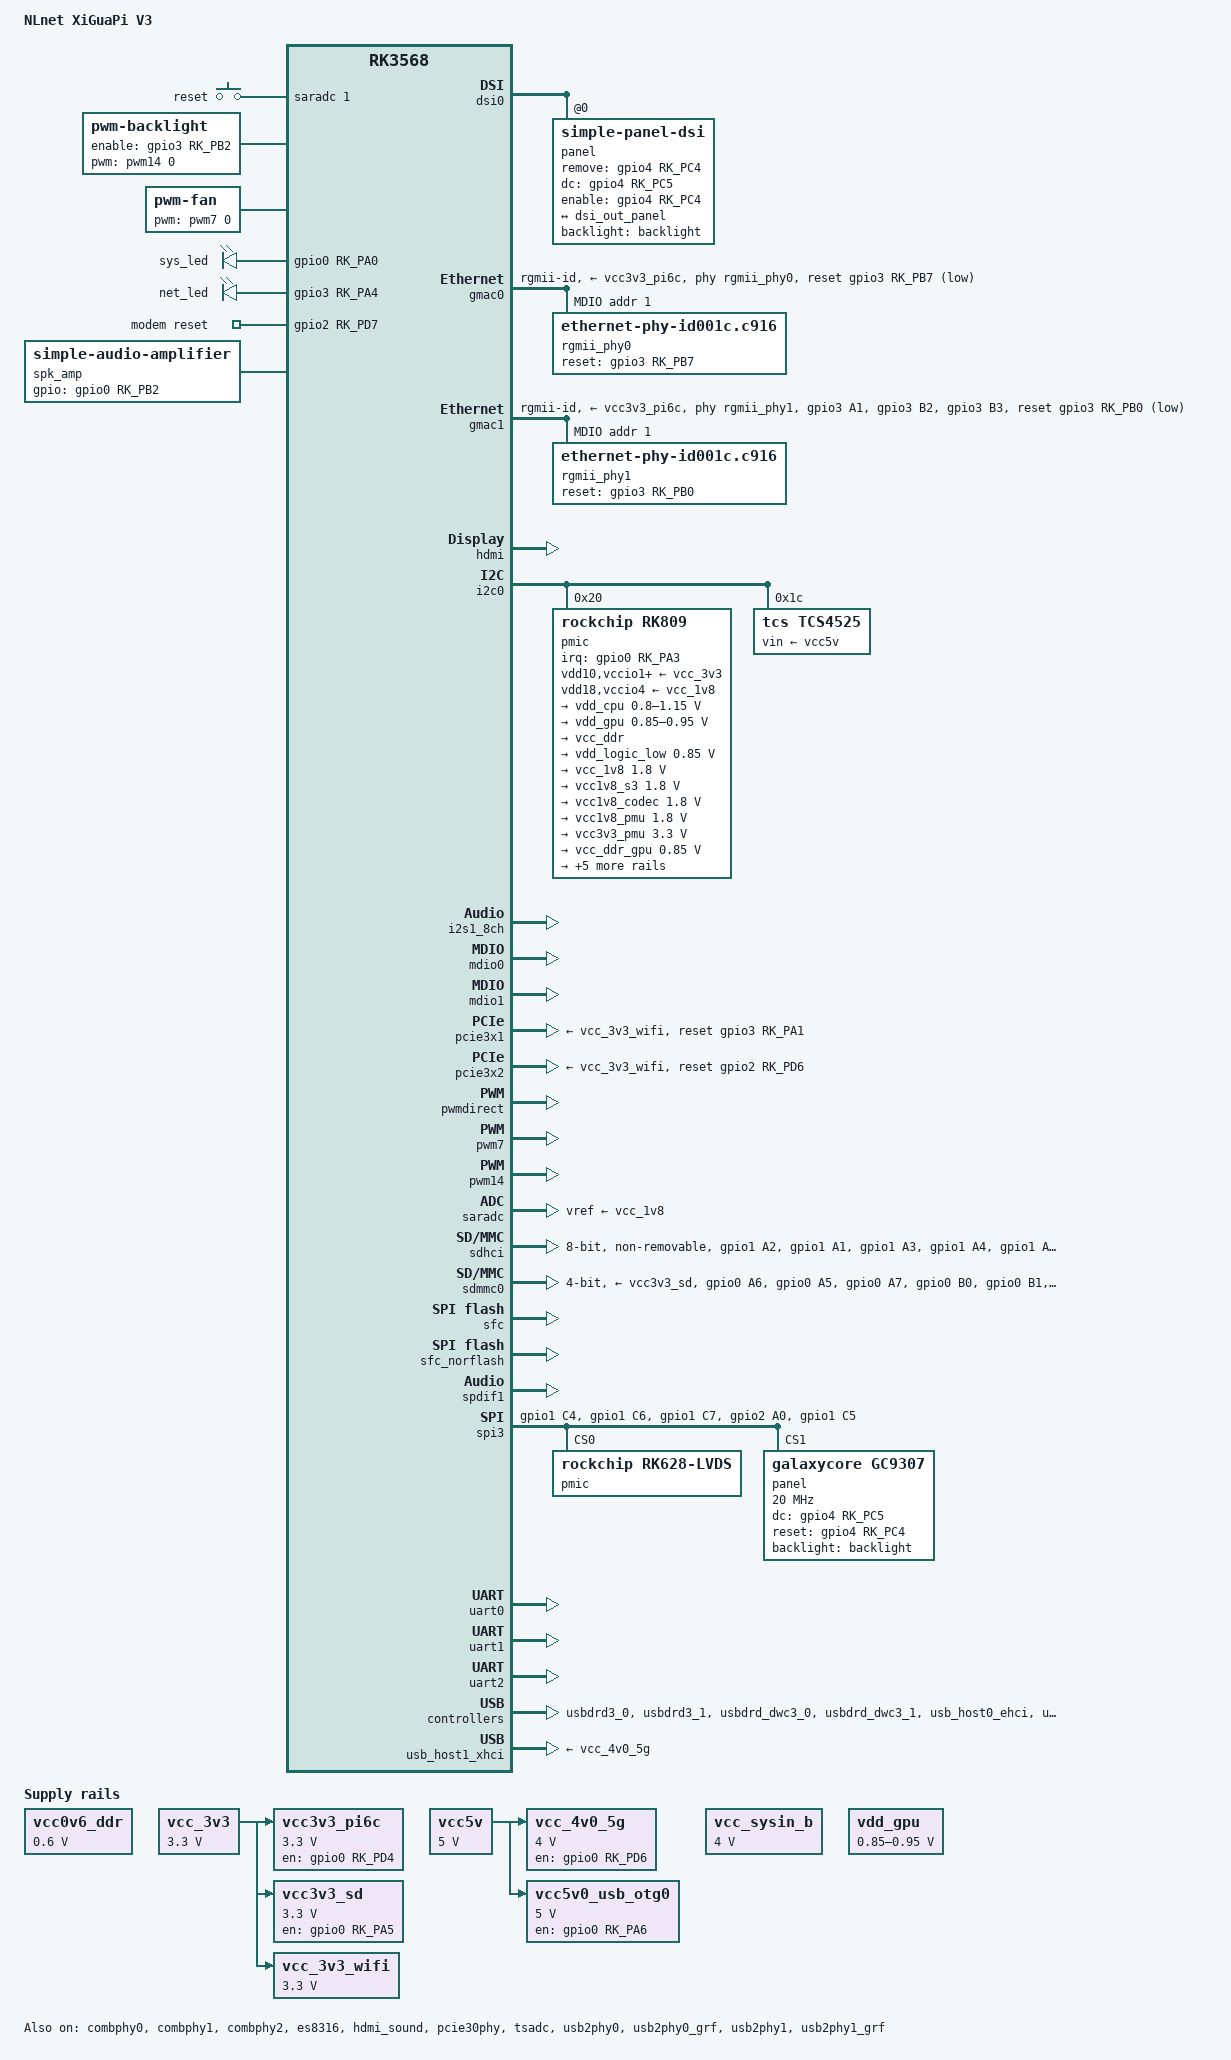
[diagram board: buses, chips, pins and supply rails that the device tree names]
// SPDX-License-Identifier: (GPL-2.0+ OR MIT)

/dts-v1/;

#include <dt-bindings/gpio/gpio.h>
#include <dt-bindings/pinctrl/rockchip.h>
#include <dt-bindings/thermal/thermal.h>

/ {
	model = "NLnet XiGuaPi V3";
	compatible = "nlnet,xiguapi-v3", "rockchip,rk3568";

	aliases {
		ethernet0 = &gmac0;
		ethernet1 = &gmac1;
		mmc0 = &sdhci;
		mmc1 = &sdmmc0;
	};

	chosen {
		bootargs = "earlycon";
		stdout-path = "serial2:1500000n8";
	};

	adc-keys {
		compatible = "adc-keys";
		io-channels = <&saradc 1>;
		key-scan-interval = <100>;
		poll-interval = <100>;

		reset-key {
			label = "reset";
			linux,code = <KEY_RESTART>;
			channel = <1>;
			threshold = <0>;
		};
	};

	backlight: backlight {
		compatible = "pwm-backlight";
		pwms = <&pwm14 0 50000>;
		enable-gpios = <&gpio3 RK_PB2 GPIO_ACTIVE_HIGH>;
		default-brightness-level = <200>;
	};

	es8316-sound {
		compatible = "simple-audio-card";
		simple-audio-card,format = "i2s";
		simple-audio-card,name = "HDMI";
		simple-audio-card,widgets = "Microphone", "Microphone Jack",
					    "Headphone", "Headphone Jack",
					    "Speaker", "Speaker Ext",
					    "Line", "Line In Jack";
		simple-audio-card,routing = "MIC1", "Microphone Jack",
					     "Headphone", "HPOL",
					     "Headphone", "HPOR",
					     "Speaker", "SPOL",
					     "Speaker", "SPOR",
					     "LL", "Line In Jack",
					     "Headphone", "HPOL",
					     "Headphone", "HPOR";
		simple-audio-card,cpu {
			sound-dai = <&i2s1_8ch>;
		};
		simple-audio-card,codec {
			sound-dai = <&es8316>;
		};
	};

	fan: pwm-fan {
		compatible = "pwm-fan";
		cooling-min-state = <0>;
		cooling-max-state = <4>;
		#cooling-cells = <2>;
		pwms = <&pwm7 0>;
		cooling-levels = <0 30 75 135 195 255>;
	};

	gpu: gpu {
		compatible = "rockchip,rk3568-mali";
		status = "okay";
	};

	leds {
		compatible = "gpio-leds";
		pinctrl-names = "default";
		pinctrl-0 = <&led_b>;

		led-b {
			gpios = <&gpio0 RK_PA0 GPIO_ACTIVE_HIGH>;
			label = "sys_led";
			linux,default-trigger = "default-on";
		};

		net_led {
			gpios = <&gpio3 RK_PA4 GPIO_ACTIVE_HIGH>;
			label = "net_led";
			linux,default-trigger = "netdev";
			default-state = "off";
		};
	};

	rfkill-modem {
		compatible = "rfkill-gpio";
		label = "modem";
		radio-type = "wwan";
		reset-gpios = <&gpio2 RK_PD7 GPIO_ACTIVE_HIGH>;
		default-state = <0>;
	};

	spk_amp: spk-amp {
		compatible = "simple-audio-amplifier";
		sound-name-prefix = "Speaker Amp";
		gpios = <&gpio0 RK_PB2 GPIO_ACTIVE_HIGH>;
	};

	vcc0v6_ddr: vcc0v6-ddr {
		compatible = "regulator-fixed";
		regulator-name = "vcc0v6_ddr";
		regulator-always-on;
		regulator-boot-on;
		regulator-min-microvolt = <600000>;
		regulator-max-microvolt = <600000>;
	};

	vcc3v3_pi6c: vcc3v3-pi6c {
		compatible = "regulator-fixed";
		regulator-name = "vcc3v3_pi6c";
		regulator-always-on;
		regulator-boot-on;
		regulator-min-microvolt = <3300000>;
		regulator-max-microvolt = <3300000>;
		vin-supply = <&vcc_3v3>;

		gpio = <&gpio0 RK_PD4 GPIO_ACTIVE_HIGH>;
		enable-active-high;
	};

	vcc3v3_sd: vcc3v3-sd {
		compatible = "regulator-fixed";
		regulator-name = "vcc3v3_sd";
		regulator-always-on;
		regulator-boot-on;
		regulator-min-microvolt = <3300000>;
		regulator-max-microvolt = <3300000>;
		vin-supply = <&vcc_3v3>;

		gpio = <&gpio0 RK_PA5 GPIO_ACTIVE_HIGH>;
		enable-active-high;
	};

	vcc_3v3: vcc-3v3 {
		compatible = "regulator-fixed";
		regulator-name = "vcc_3v3";
		regulator-always-on;
		regulator-boot-on;
		regulator-min-microvolt = <3300000>;
		regulator-max-microvolt = <3300000>;
	};

	vcc_3v3_wifi: vcc-3v3-wifi {
		compatible = "regulator-fixed";
		regulator-name = "vcc_3v3_wifi";
		regulator-always-on;
		regulator-boot-on;
		regulator-min-microvolt = <3300000>;
		regulator-max-microvolt = <3300000>;
		vin-supply = <&vcc_3v3>;
	};

	vcc_4v0_5g: vcc-4v0-5g {
		compatible = "regulator-fixed";
		regulator-name = "vcc_4v0_5g";
		regulator-always-on;
		regulator-boot-on;
		regulator-min-microvolt = <4000000>;
		regulator-max-microvolt = <4000000>;
		vin-supply = <&vcc5v>;

		gpio = <&gpio0 RK_PD6 GPIO_ACTIVE_HIGH>;
		enable-active-high;
	};

	vcc5v: vcc5v {
		compatible = "regulator-fixed";
		regulator-name = "vcc5v";
		regulator-always-on;
		regulator-boot-on;
		regulator-min-microvolt = <5000000>;
		regulator-max-microvolt = <5000000>;
	};

	vcc5v0_usb_otg0: vcc5v0-usb-otg0 {
		compatible = "regulator-fixed";
		regulator-name = "vcc5v0_usb_otg0";
		regulator-always-on;
		regulator-boot-on;
		regulator-min-microvolt = <5000000>;
		regulator-max-microvolt = <5000000>;
		vin-supply = <&vcc5v>;

		gpio = <&gpio0 RK_PA6 GPIO_ACTIVE_HIGH>;
		enable-active-high;
	};

	vcc_sysin_b: vcc-sysin-b {
		compatible = "regulator-fixed";
		regulator-name = "vcc_sysin_b";
		regulator-always-on;
		regulator-boot-on;
		regulator-min-microvolt = <4000000>;
		regulator-max-microvolt = <4000000>;
	};

	vdd_gpu: vdd-gpu {
		compatible = "pwm-regulator";
		pwms = <&pwmdirect 0>;
		regulator-name = "vdd_gpu";
		regulator-min-microvolt = <850000>;
		regulator-max-microvolt = <950000>;
		regulator-ramp-delay = <500>;
		status = "okay";
	};

	thermal-zones {
		cpu_thermal: cpu-thermal {
			polling-delay-passive = <1000>;
			polling-delay = <1000>;
			thermal-sensors = <&tsadc 1>;

			trips {
				cpu_trip_budget: cpu-trip-budget {
					temperature = <55000>;
					hysteresis = <5000>;
					type = "passive";
				};
				cpu_trip_jade: cpu-trip-jade {
					temperature = <65000>;
					hysteresis = <5000>;
					type = "passive";
				};
				cpu_trip_hot: cpu-trip-hot {
					temperature = <75000>;
					hysteresis = <5000>;
					type = "passive";
				};
				cpu_trip_ffs: cpu-trip-ffs {
					temperature = <85000>;
					hysteresis = <2000>;
					type = "critical";
				};
			};

			cooling-maps {
				cooler-budget {
					trip = <&cpu_trip_budget>;
					cooling-device = <&cpu0 THERMAL_NO_LIMIT THERMAL_NO_LIMIT>,
							 <&cpu1 THERMAL_NO_LIMIT THERMAL_NO_LIMIT>,
							 <&cpu2 THERMAL_NO_LIMIT THERMAL_NO_LIMIT>,
							 <&cpu3 THERMAL_NO_LIMIT THERMAL_NO_LIMIT>;
				};
				cooler_jade {
					trip = <&cpu_trip_jade>;
					cooling-device = <&cpu0 THERMAL_NO_LIMIT THERMAL_NO_LIMIT>,
							 <&cpu1 THERMAL_NO_LIMIT THERMAL_NO_LIMIT>,
							 <&cpu2 THERMAL_NO_LIMIT THERMAL_NO_LIMIT>,
							 <&cpu3 THERMAL_NO_LIMIT THERMAL_NO_LIMIT>;
				};
				cooler_hot {
					trip = <&cpu_trip_hot>;
					cooling-device = <&fan THERMAL_NO_LIMIT 1>;
				};
				cooler_ffs {
					trip = <&cpu_trip_ffs>;
					cooling-device = <&fan 3 THERMAL_NO_LIMIT>;
				};
			};
		};
	};

	wireless-wwan {
		compatible = "wireless-wwan";
	};
};

&combphy0 {
	status = "okay";
};

&combphy1 {
	status = "okay";
};

&combphy2 {
	status = "okay";
};

&cpu0 {
	cpu-supply = <&vdd_cpu>;
	operating-points-v2 = <&cpu0_opp_table>;
	clock-latency = <40000>;
	#cooling-cells = <2>;
};

&cpu0_opp_table {
	opp-600000000 {
		opp-hz = /bits/ 64 <600000000>;
		opp-microvolt = <850000>;
		clock-latency-ns = <40000>;
	};
	opp-800000000 {
		opp-hz = /bits/ 64 <800000000>;
		opp-microvolt = <850000>;
		clock-latency-ns = <40000>;
	};
	opp-1000000000 {
		opp-hz = /bits/ 64 <1000000000>;
		opp-microvolt = <900000>;
		clock-latency-ns = <40000>;
	};
	opp-1200000000 {
		opp-hz = /bits/ 64 <1200000000>;
		opp-microvolt = <1000000>;
		clock-latency-ns = <40000>;
	};
	opp-1416000000 {
		opp-hz = /bits/ 64 <1416000000>;
		opp-microvolt = <1100000>;
		clock-latency-ns = <40000>;
	};
	opp-1512000000 {
		opp-hz = /bits/ 64 <1512000000>;
		opp-microvolt = <1150000>;
		clock-latency-ns = <40000>;
		status = "okay";
	};
};

&cpu1 {
	cpu-supply = <&vdd_cpu>;
	operating-points-v2 = <&cpu0_opp_table>;
	#cooling-cells = <2>;
};

&cpu2 {
	cpu-supply = <&vdd_cpu>;
	operating-points-v2 = <&cpu0_opp_table>;
	#cooling-cells = <2>;
};

&cpu3 {
	cpu-supply = <&vdd_cpu>;
	operating-points-v2 = <&cpu0_opp_table>;
	#cooling-cells = <2>;
};

&dsi0 {
	status = "okay";
	rockchip,lane-rate = <594>;
	#address-cells = <1>;
	#size-cells = <0>;

	panel@0 {
		compatible = "simple-panel-dsi";
		reg = <0>;
		remove-gpios = <&gpio4 RK_PC4 GPIO_ACTIVE_HIGH>;
		dc-gpios = <&gpio4 RK_PC5 GPIO_ACTIVE_HIGH>;
		enable-gpios = <&gpio4 RK_PC4 GPIO_ACTIVE_HIGH>;
		rotation = <270>;
		backlight = <&backlight>;
		link-invert;
		port {
			panel_in_panel: endpoint {
				remote-endpoint = <&dsi_out_panel>;
			};
		};
	};
};

&dsi0_out {
	data-lanes = <0 1 2 3>;
	link-invert;
	port@0 {
		dsi_out_panel: endpoint {
			remote-endpoint = <&panel_in_panel>;
		};
	};
};

&dsi_in {
	data-lanes = <0 1 2 3>;
};

&es8316 {
	compatible = "everest,es8316";
	clocks = <&i2s1_8ch_mclk>;
	assigned-clocks = <&cru SCLK_I2S1_8CH_TX>;
	assigned-clock-rates = <24576000>;
	pinctrl-names = "default";
	pinctrl-0 = <&i2s1m0_mclk>;
	reg = <0x10>;
	status = "okay";
};

&gmac0 {
	clock_in_out = "output";
	phy-handle = <&rgmii_phy0>;
	phy-mode = "rgmii-id";
	snps,reset-gpio = <&gpio3 RK_PB7 GPIO_ACTIVE_HIGH>;
	snps,reset-active-low;
	snps,reset-delays-us = <0 20000 100000>;
	phy-supply = <&vcc3v3_pi6c>;
	status = "okay";

	mdio0 {
		compatible = "snps,dwmac-mdio";
		rgmii_phy0: phy@1 {
			compatible = "ethernet-phy-id001c.c916";
			reg = <1>;
			reset-assert-us = <20000>;
			reset-deassert-us = <100000>;
			reset-gpios = <&gpio3 RK_PB7 GPIO_ACTIVE_HIGH>;
		};
	};
};

&gmac1 {
	clock_in_out = "output";
	phy-handle = <&rgmii_phy1>;
	phy-mode = "rgmii-id";
	pinctrl-names = "default";
	pinctrl-0 = <&gmac1m1_clkinout &gmac1m1_rx_bus2 &gmac1m1_tx_bus2>;
	snps,reset-gpio = <&gpio3 RK_PB0 GPIO_ACTIVE_HIGH>;
	snps,reset-active-low;
	snps,reset-delays-us = <0 20000 100000>;
	phy-supply = <&vcc3v3_pi6c>;
	status = "okay";

	mdio1 {
		compatible = "snps,dwmac-mdio";
		rgmii_phy1: phy@1 {
			compatible = "ethernet-phy-id001c.c916";
			reg = <1>;
			reset-assert-us = <20000>;
			reset-deassert-us = <100000>;
			reset-gpios = <&gpio3 RK_PB0 GPIO_ACTIVE_HIGH>;
		};
	};
};

&gpu {
	suppress-vma-alloc;
};

&hdmi {
	status = "okay";
	#sound-dai-cells = <0>;
};

&hdmi_sound {
	status = "okay";
};

&i2c0 {
	status = "okay";
	i2c-scl-rising-time-ns = <420>;
	i2c-scl-falling-time-ns = <30>;
	pmic@20 {
		compatible = "rockchip,rk809";
		reg = <0x20>;
		interrupt-parent = <&gpio0>;
		interrupts = <RK_PA3 IRQ_TYPE_LEVEL_LOW>;
		pinctrl-names = "default";
		pinctrl-0 = <&pmic_int>;
		rockchip,system-power-controller;
		wakeup-source;

		vdd10-supply = <&vcc_3v3>;
		vdd18-supply = <&vcc_1v8>;
		vccio1-supply = <&vcc_3v3>;
		vccio2-supply = <&vcc_3v3>;
		vccio3-supply = <&vcc_3v3>;
		vccio4-supply = <&vcc_1v8>;
		vccio5-supply = <&vcc_3v3>;
		vccio6-supply = <&vcc_3v3>;
		vccio7-supply = <&vcc_3v3>;

		regulators {
			vdd_cpu: DCDC_REG1 {
				regulator-name = "vdd_cpu";
				regulator-always-on;
				regulator-boot-on;
				regulator-min-microvolt = <800000>;
				regulator-max-microvolt = <1150000>;
				regulator-ramp-delay = <500>;
				regulator-settling-time-up-us = <500>;
				regulator-settling-time-down-us = <20000>;
				regulator-initial-mode = <0>;
				regulator-allowed-modes = <0 1>;

				regulator-state-mem {
					regulator-off-in-suspend;
				};
			};

			vdd_gpu: DCDC_REG2 {
				regulator-name = "vdd_gpu";
				regulator-always-on;
				regulator-boot-on;
				regulator-min-microvolt = <850000>;
				regulator-max-microvolt = <950000>;
				regulator-ramp-delay = <500>;
				regulator-initial-mode = <0>;
				regulator-allowed-modes = <0 1>;

				regulator-state-mem {
					regulator-off-in-suspend;
				};
			};

			vcc_ddr: DCDC_REG3 {
				regulator-name = "vcc_ddr";
				regulator-always-on;
				regulator-boot-on;
				regulator-initial-mode = <0>;

				regulator-state-mem {
					regulator-on-in-suspend;
				};
			};

			vdd_logic_low: DCDC_REG4 {
				regulator-name = "vdd_logic_low";
				regulator-always-on;
				regulator-boot-on;
				regulator-min-microvolt = <850000>;
				regulator-max-microvolt = <850000>;
				regulator-ramp-delay = <500>;
				regulator-initial-mode = <0>;

				regulator-state-mem {
					regulator-on-in-suspend;
					regulator-suspend-microvolt = <850000>;
				};
			};

			vcc_1v8: DCDC_REG5 {
				regulator-name = "vcc_1v8";
				regulator-always-on;
				regulator-boot-on;
				regulator-min-microvolt = <1800000>;
				regulator-max-microvolt = <1800000>;
				regulator-initial-mode = <0>;

				regulator-state-mem {
					regulator-on-in-suspend;
					regulator-suspend-microvolt = <1800000>;
				};
			};

			vcc1v8_s3: LDO_REG1 {
				regulator-name = "vcc1v8_s3";
				regulator-always-on;
				regulator-boot-on;
				regulator-min-microvolt = <1800000>;
				regulator-max-microvolt = <1800000>;
				regulator-initial-mode = <0>;

				regulator-state-mem {
					regulator-off-in-suspend;
				};
			};

			vcc1v8_codec: LDO_REG2 {
				regulator-name = "vcc1v8_codec";
				regulator-always-on;
				regulator-boot-on;
				regulator-min-microvolt = <1800000>;
				regulator-max-microvolt = <1800000>;
				regulator-initial-mode = <0>;

				regulator-state-mem {
					regulator-off-in-suspend;
				};
			};

			vcc1v8_pmu: LDO_REG3 {
				regulator-name = "vcc1v8_pmu";
				regulator-always-on;
				regulator-boot-on;
				regulator-min-microvolt = <1800000>;
				regulator-max-microvolt = <1800000>;
				regulator-initial-mode = <0>;

				regulator-state-mem {
					regulator-on-in-suspend;
					regulator-suspend-microvolt = <1800000>;
				};
			};

			vcc3v3_pmu: LDO_REG4 {
				regulator-name = "vcc3v3_pmu";
				regulator-always-on;
				regulator-boot-on;
				regulator-min-microvolt = <3300000>;
				regulator-max-microvolt = <3300000>;
				regulator-initial-mode = <0>;

				regulator-state-mem {
					regulator-on-in-suspend;
					regulator-suspend-microvolt = <3300000>;
				};
			};

			vcc_ddr_gpu: LDO_REG5 {
				regulator-name = "vcc_ddr_gpu";
				regulator-always-on;
				regulator-boot-on;
				regulator-min-microvolt = <850000>;
				regulator-max-microvolt = <850000>;
				regulator-initial-mode = <0>;

				regulator-state-mem {
					regulator-on-in-suspend;
					regulator-suspend-microvolt = <850000>;
				};
			};

			vcc3v3_sys: LDO_REG6 {
				regulator-name = "vcc3v3_sys";
				regulator-always-on;
				regulator-boot-on;
				regulator-min-microvolt = <3300000>;
				regulator-max-microvolt = <3300000>;
				regulator-initial-mode = <0>;

				regulator-state-mem {
					regulator-on-in-suspend;
					regulator-suspend-microvolt = <3300000>;
				};
			};

			vcc3v3_ht: LDO_REG7 {
				regulator-name = "vcc3v3_ht";
				regulator-always-on;
				regulator-boot-on;
				regulator-min-microvolt = <3300000>;
				regulator-max-microvolt = <3300000>;
				regulator-initial-mode = <0>;

				regulator-state-mem {
					regulator-on-in-suspend;
					regulator-suspend-microvolt = <3300000>;
				};
			};

			vcc3v3_lvp: LDO_REG8 {
				regulator-name = "vcc3v3_lvp";
				regulator-always-on;
				regulator-boot-on;
				regulator-min-microvolt = <3300000>;
				regulator-max-microvolt = <3300000>;
				regulator-initial-mode = <0>;

				regulator-state-mem {
					regulator-off-in-suspend;
				};
			};

			vcc1v8_s0: LDO_REG9 {
				regulator-name = "vcc1v8_s0";
				regulator-always-on;
				regulator-boot-on;
				regulator-min-microvolt = <1800000>;
				regulator-max-microvolt = <1800000>;
				regulator-initial-mode = <0>;

				regulator-state-mem {
					regulator-off-in-suspend;
				};
			};

			vccio_acodec: LDO_REG10 {
				regulator-name = "vccio_acodec";
				regulator-always-on;
				regulator-boot-on;
				regulator-min-microvolt = <1800000>;
				regulator-max-microvolt = <1800000>;
				regulator-initial-mode = <0>;

				regulator-state-mem {
					regulator-off-in-suspend;
				};
			};
		};
	};

	tcs4525@1c {
		compatible = "tcs,tcs4525";
		reg = <0x1c>;
	 regulator-name = "vdd_cpu";
	 regulator-min-microvolt = <800000>;
	 regulator-max-microvolt = <1150000>;
	 vin-supply = <&vcc5v>;
	};
};

&i2s1_8ch {
	status = "okay";
};

&i2s1_8ch_mclk {
	status = "okay";
};

&mdio0 {
	status = "okay";
};

&mdio1 {
	status = "okay";
};

&pcie30phy {
	status = "okay";
	clkreq-names = "pcie30_1lane";
	resets = <&cru SRST_PCIE30_PHY>;
	rockchip,ppc-timeout-us = <10000000>;
	rockchip,tx-term-offset = <3>;
};

&pcie30phy_pwr500ms {
	bit = <0 0x2000>;
};

&pcie30phy_pwr90ms {
	bit = <0x2000 0>;
};

&pcie30phy_pwren {
	bit = <0x2000 0x1>;
};

&pcie3x1 {
	status = "okay";
	reset-gpios = <&gpio3 RK_PA1 GPIO_ACTIVE_HIGH>;
	vpcie3v3-supply = <&vcc_3v3_wifi>;
	rockchip,max-clkreq-unsupported;
};

&pcie3x2 {
	status = "okay";
	reset-gpios = <&gpio2 RK_PD6 GPIO_ACTIVE_HIGH>;
	vpcie3v3-supply = <&vcc_3v3_wifi>;
	rockchip,max-clkreq-unsupported;
};

&pcie3x2_immap {
	reset-names = "perst";
	resets = <&cru SRST_PCIE3X2>;
};

&pcie3x2_panphy {
	bit = <0x2000 0x1>;
};

&pinctrl {
	bl: bl-con {
		rockchip,pins = <3 RK_PB2 RK_FUNC_GPIO &pcfg_pull_none>;
	};

	bt1140: bt1140-con {
		rockchip,pins = <0 RK_PB4 RK_FUNC_GPIO &pcfg_pull_none>;
	};

	bt6565: bt6565-con {
		rockchip,pins = <0 RK_PB5 RK_FUNC_GPIO &pcfg_pull_none>;
	};

	bt6765: bt6765-con {
		rockchip,pins = <0 RK_PB6 RK_FUNC_GPIO &pcfg_pull_none>;
	};

	bt86565: bt86565-con {
		rockchip,pins = <0 RK_PB7 RK_FUNC_GPIO &pcfg_pull_none>;
	};

	bt8965: bt8965-con {
		rockchip,pins = <1 RK_PC0 RK_FUNC_GPIO &pcfg_pull_none>;
	};

	bt: bt-con {
		rockchip,pins = <0 RK_PB3 RK_FUNC_GPIO &pcfg_pull_none>;
	};

	led-b {
		rockchip,pins = <0 RK_PA0 RK_FUNC_GPIO &pcfg_pull_none>;
	};

	bt1140m1: bt1140m1-con {
		rockchip,pins = <4 RK_PC4 RK_FUNC_GPIO &pcfg_pull_none>;
	};

	bt6565m1: bt6565m1-con {
		rockchip,pins = <4 RK_PC5 RK_FUNC_GPIO &pcfg_pull_none>;
	};

	bt6765m1: bt6765m1-con {
		rockchip,pins = <4 RK_PC6 RK_FUNC_GPIO &pcfg_pull_none>;
	};

	bt86565m1: bt86565m1-con {
		rockchip,pins = <4 RK_PC7 RK_FUNC_GPIO &pcfg_pull_none>;
	};

	bt8965m1: bt8965m1-con {
		rockchip,pins = <1 RK_PD0 RK_FUNC_GPIO &pcfg_pull_none>;
	};

	btm1: bt-m1 {
		rockchip,pins = <4 RK_PC3 RK_FUNC_GPIO &pcfg_pull_none>;
	};

	csi {
		bt6565m0: bt6565m0-con {
			rockchip,pins = <0 RK_PB5 RK_FUNC_GPIO &pcfg_pull_none>;
		};

		bt6765m0: bt6765m0-con {
			rockchip,pins = <0 RK_PB6 RK_FUNC_GPIO &pcfg_pull_none>;
		};

		bt86565m0: bt86565m0-con {
			rockchip,pins = <0 RK_PB7 RK_FUNC_GPIO &pcfg_pull_none>;
		};

		bt8965m0: bt8965m0-con {
			rockchip,pins = <1 RK_PC0 RK_FUNC_GPIO &pcfg_pull_none>;
		};

		bt8965rst: bt8965rst-con {
			rockchip,pins = <1 RK_PD4 RK_FUNC_GPIO &pcfg_pull_none>;
		};

		bt6565rst: bt6565rst-con {
			rockchip,pins = <0 RK_PD7 RK_FUNC_GPIO &pcfg_pull_none>;
		};

		bt6765rst: bt6765rst-con {
			rockchip,pins = <0 RK_PD5 RK_FUNC_GPIO &pcfg_pull_none>;
		};

		bt86565rst: bt86565rst-con {
			rockchip,pins = <0 RK_PD6 RK_FUNC_GPIO &pcfg_pull_none>;
		};

		bt1140rst: bt1140rst-con {
			rockchip,pins = <0 RK_PD3 RK_FUNC_GPIO &pcfg_pull_none>;
		};

		bt1140m0: bt1140m0-con {
			rockchip,pins = <0 RK_PB4 RK_FUNC_GPIO &pcfg_pull_none>;
		};
	};

	ddc {
		ddc_out: ddc-out {
			rockchip,pins = <4 RK_PD2 RK_FUNC_GPIO &pcfg_pull_none>;
		};
	};

	es8323 {
		es8323-sleep: es8323-sleep {
			rockchip,pins = <1 RK_PB0 RK_FUNC_GPIO &pcfg_pull_none>;
		};
	};

	es8323-s: es8323-s-con {
		rockchip,pins = <1 RK_PB0 RK_FUNC_GPIO &pcfg_pull_none>;
	};

	fan {
		fan_sleep: fan-sleep {
			rockchip,pins = <4 RK_PD4 RK_FUNC_GPIO &pcfg_pull_none>;
		};
	};

	gmac1 {
		gmac1m1_clkinout: gmac1m1_clkinout {
			rockchip,pins = <3 RK_PA1 RK_FUNC3 &pcfg_pull_none>;
		};

		gmac1m1_rx_bus2: gmac1m1_rx_bus2 {
			rockchip,pins = <3 RK_PB2 RK_FUNC2 &pcfg_pull_none>;
		};

		gmac1m1_tx_bus2: gmac1m1_tx_bus2 {
			rockchip,pins = <3 RK_PB3 RK_FUNC2 &pcfg_pull_none>;
		};
	};

	hdmim1: hdmim1-con {
		rockchip,pins = <4 RK_PD1 RK_FUNC1 &pcfg_pull_none>;
	};

	hdmim0: hdmim0-con {
		rockchip,pins = <4 RK_PD2 RK_FUNC1 &pcfg_pull_none>;
	};

	i2c1 {
		i2c1m0: i2c1m0-con {
			rockchip,pins = <7 RK_PA2 RK_FUNC1 &pcfg_pull_none>;
		};

		i2c1m0_xfer: i2c1m0-xfer {
			rockchip,pins = <7 RK_PA2 RK_FUNC1 &pcfg_pull_up>,
					 <7 RK_PA3 RK_FUNC1 &pcfg_pull_up>;
		};
	};

	i2c1m1: i2c1m1-con {
		rockchip,pins = <4 RK_PC1 RK_FUNC3 &pcfg_pull_none>;
	};

	i2c1m1_xfer: i2c1m1-xfer {
		rockchip,pins = <4 RK_PC1 RK_FUNC3 &pcfg_pull_up>,
				 <4 RK_PC2 RK_FUNC3 &pcfg_pull_up>;
	};

	i2c2 {
		i2c2m0: i2c2m0-con {
			rockchip,pins = <3 RK_PC2 RK_FUNC1 &pcfg_pull_none>;
		};

		i2c2m0_xfer: i2c2m0-xfer {
			rockchip,pins = <3 RK_PC2 RK_FUNC1 &pcfg_pull_up>,
					 <3 RK_PC3 RK_FUNC1 &pcfg_pull_up>;
		};
	};

	i2c2m1: i2c2m1-con {
		rockchip,pins = <1 RK_PA2 RK_FUNC4 &pcfg_pull_none>;
	};

	i2c2m1_xfer: i2c2m1-xfer {
		rockchip,pins = <1 RK_PA2 RK_FUNC4 &pcfg_pull_up>,
				 <1 RK_PA3 RK_FUNC4 &pcfg_pull_up>;
	};

	i2c3 {
		i2c3m0: i2c3m0-con {
			rockchip,pins = <6 RK_PB5 RK_FUNC2 &pcfg_pull_none>;
		};

		i2c3m0_xfer: i2c3m0-xfer {
			rockchip,pins = <6 RK_PB5 RK_FUNC2 &pcfg_pull_up>,
					 <6 RK_PB6 RK_FUNC2 &pcfg_pull_up>;
		};
	};

	i2c3m1: i2c3m1-con {
		rockchip,pins = <4 RK_PB0 RK_FUNC4 &pcfg_pull_none>;
	};

	i2c3m1_xfer: i2c3m1-xfer {
		rockchip,pins = <4 RK_PB0 RK_FUNC4 &pcfg_pull_up>,
				 <4 RK_PB1 RK_FUNC4 &pcfg_pull_up>;
	};

	i2c3m1_xfer_alt: i2c3m1-xfer-alt {
		rockchip,pins = <4 RK_PC0 RK_FUNC4 &pcfg_pull_up>,
				 <4 RK_PC1 RK_FUNC4 &pcfg_pull_up>;
	};

	i2c4 {
		i2c4m0: i2c4m0-con {
			rockchip,pins = <4 RK_PC2 RK_FUNC2 &pcfg_pull_none>;
		};

		i2c4m0_xfer: i2c4m0-xfer {
			rockchip,pins = <4 RK_PC2 RK_FUNC2 &pcfg_pull_up>,
					 <4 RK_PC3 RK_FUNC2 &pcfg_pull_up>;
		};

		i2c4m0_xfer_alt: i2c4m0-xfer-alt {
			rockchip,pins = <3 RK_PC0 RK_FUNC3 &pcfg_pull_up>,
					 <3 RK_PC1 RK_FUNC3 &pcfg_pull_up>;
		};
	};

	i2c4m1: i2c4m1-con {
		rockchip,pins = <1 RK_PB3 RK_FUNC4 &pcfg_pull_none>;
	};

	i2c4m1_xfer: i2c4m1-xfer {
		rockchip,pins = <1 RK_PB3 RK_FUNC4 &pcfg_pull_up>,
				 <1 RK_PB4 RK_FUNC4 &pcfg_pull_up>;
	};

	i2c5 {
		i2c5m0: i2c5m0-con {
			rockchip,pins = <1 RK_PC2 RK_FUNC3 &pcfg_pull_none>;
		};

		i2c5m0_xfer: i2c5m0-xfer {
			rockchip,pins = <1 RK_PC2 RK_FUNC3 &pcfg_pull_up>,
					 <1 RK_PC3 RK_FUNC3 &pcfg_pull_up>;
		};
	};

	i2c5m1: i2c5m1-con {
		rockchip,pins = <6 RK_PB2 RK_FUNC3 &pcfg_pull_none>;
	};

	i2c5m1_xfer: i2c5m1-xfer {
		rockchip,pins = <6 RK_PB2 RK_FUNC3 &pcfg_pull_up>,
				 <6 RK_PB3 RK_FUNC3 &pcfg_pull_up>;
	};

	i2c6m0: i2c6m0-con {
		rockchip,pins = <1 RK_PC4 RK_FUNC2 &pcfg_pull_none>;
	};

	i2c6m0_xfer: i2c6m0-xfer {
		rockchip,pins = <1 RK_PC4 RK_FUNC2 &pcfg_pull_up>,
				 <1 RK_PC5 RK_FUNC2 &pcfg_pull_up>;
	};

	i2c6m1: i2c6m1-con {
		rockchip,pins = <3 RK_PD0 RK_FUNC4 &pcfg_pull_none>;
	};

	i2c6m1_xfer: i2c6m1-xfer {
		rockchip,pins = <3 RK_PD0 RK_FUNC4 &pcfg_pull_up>,
				 <3 RK_PD1 RK_FUNC4 &pcfg_pull_up>;
	};

	i2c6m1_xfer_alt: i2c6m1-xfer-alt {
		rockchip,pins = <6 RK_PC0 RK_FUNC4 &pcfg_pull_up>,
				 <6 RK_PC1 RK_FUNC4 &pcfg_pull_up>;
	};

	i2c6m1_xfer_altr: i2c6m1-xfer-altr {
		rockchip,pins = <6 RK_PC4 RK_FUNC3 &pcfg_pull_up>,
				 <6 RK_PC5 RK_FUNC3 &pcfg_pull_up>;
	};

	i2s1m0: i2s1m0-con {
		rockchip,pins = <2 RK_PB0 RK_FUNC1 &pcfg_pull_none>;
	};

	i2s1m0_xfer: i2s1m0-xfer {
		rockchip,pins = <2 RK_PB0 RK_FUNC1 &pcfg_pull_none>,
				 <2 RK_PB1 RK_FUNC1 &pcfg_pull_none>,
				 <2 RK_PB2 RK_FUNC1 &pcfg_pull_none>,
				 <2 RK_PB3 RK_FUNC1 &pcfg_pull_none>,
				 <2 RK_PB4 RK_FUNC1 &pcfg_pull_none>,
				 <2 RK_PB5 RK_FUNC1 &pcfg_pull_none>;
	};

	i2s1m0_mclk: i2s1m0_mclk {
		rockchip,pins = <2 RK_PB6 RK_FUNC1 &pcfg_pull_none>;
	};

	i2s1m0_bclk: i2s1m0_bclk {
		rockchip,pins = <2 RK_PB7 RK_FUNC1 &pcfg_pull_none>;
	};

	i2s1m1: i2s1m1-con {
		rockchip,pins = <7 RK_PA0 RK_FUNC1 &pcfg_pull_none>;
	};

	i2s1m1_xfer: i2s1m1-xfer {
		rockchip,pins = <7 RK_PA0 RK_FUNC1 &pcfg_pull_none>,
				 <7 RK_PA1 RK_FUNC1 &pcfg_pull_none>,
				 <7 RK_PA2 RK_FUNC1 &pcfg_pull_none>,
				 <7 RK_PA3 RK_FUNC1 &pcfg_pull_none>,
				 <7 RK_PA4 RK_FUNC1 &pcfg_pull_none>,
				 <7 RK_PA5 RK_FUNC1 &pcfg_pull_none>;
	};

	i2s1m1_mclk: i2s1m1_mclk {
		rockchip,pins = <7 RK_PA6 RK_FUNC1 &pcfg_pull_none>;
	};

	i2s1m1_bclk: i2s1m1_bclk {
		rockchip,pins = <7 RK_PA7 RK_FUNC1 &pcfg_pull_none>;
	};

	led1: led1-con {
		rockchip,pins = <0 RK_PA0 RK_FUNC_GPIO &pcfg_pull_none>;
	};

	led2: led2-con {
		rockchip,pins = <3 RK_PA4 RK_FUNC_GPIO &pcfg_pull_none>;
	};

	mcu: mcu-con {
		rockchip,pins = <0 RK_PB1 RK_FUNC_GPIO &pcfg_pull_none>;
	};

	mipim0: mipim0-con {
		rockchip,pins = <0 RK_PC3 RK_FUNC_GPIO &pcfg_pull_none>;
	};

	mipim1: mipim1-con {
		rockchip,pins = <0 RK_PC4 RK_FUNC_GPIO &pcfg_pull_none>;
	};

	mmc0 {
		mmc0im1: mmc0im1-hs200 {
			rockchip,pins = <1 RK_PA0 RK_FUNC2 &pcfg_pull_none>;
		};

		mmc0im1_ds: mmc0im1-ds {
			rockchip,pins = <1 RK_PA0 RK_FUNC2 &pcfg_pull_none>;
		};

		mmc0im1_cmd: mmc0im1-cmd {
			rockchip,pins = <1 RK_PA1 RK_FUNC2 &pcfg_pull_none>;
		};

		mmc0im1_clk: mmc0im1-clk {
			rockchip,pins = <1 RK_PA2 RK_FUNC2 &pcfg_pull_none>;
		};

		mmc0im1_data0: mmc0im1-data0 {
			rockchip,pins = <1 RK_PA3 RK_FUNC2 &pcfg_pull_none>;
		};

		mmc0im1_data1: mmc0im1-data1 {
			rockchip,pins = <1 RK_PA4 RK_FUNC2 &pcfg_pull_none>;
		};

		mmc0im1_data2: mmc0im1-data2 {
			rockchip,pins = <1 RK_PA5 RK_FUNC2 &pcfg_pull_none>;
		};

		mmc0im1_data3: mmc0im1-data3 {
			rockchip,pins = <1 RK_PA6 RK_FUNC2 &pcfg_pull_none>;
		};

		mmc0im1_data4: mmc0im1-data4 {
			rockchip,pins = <1 RK_PB0 RK_FUNC2 &pcfg_pull_none>;
		};

		mmc0im1_data5: mmc0im1-data5 {
			rockchip,pins = <1 RK_PB1 RK_FUNC2 &pcfg_pull_none>;
		};

		mmc0im1_data6: mmc0im1-data6 {
			rockchip,pins = <1 RK_PB2 RK_FUNC2 &pcfg_pull_none>;
		};

		mmc0im1_data7: mmc0im1-data7 {
			rockchip,pins = <1 RK_PB3 RK_FUNC2 &pcfg_pull_none>;
		};
	};

	mmc0im0: mmc0im0-con {
		rockchip,pins = <2 RK_PD2 RK_FUNC3 &pcfg_pull_none>;
	};

	mmc0im0_ds: mmc0im0-ds {
		rockchip,pins = <2 RK_PD2 RK_FUNC3 &pcfg_pull_none>;
	};

	mmc0im0_cmd: mmc0im0-cmd {
		rockchip,pins = <2 RK_PD3 RK_FUNC3 &pcfg_pull_none>;
	};

	mmc0im0_clk: mmc0im0-clk {
		rockchip,pins = <2 RK_PD4 RK_FUNC3 &pcfg_pull_none>;
	};

	mmc0im0_data0: mmc0im0-data0 {
		rockchip,pins = <2 RK_PD5 RK_FUNC3 &pcfg_pull_none>;
	};

	mmc0im0_data1: mmc0im0-data1 {
		rockchip,pins = <2 RK_PD6 RK_FUNC3 &pcfg_pull_none>;
	};

	mmc0im0_data2: mmc0im0-data2 {
		rockchip,pins = <3 RK_PA0 RK_FUNC3 &pcfg_pull_none>;
	};

	mmc0im0_data3: mmc0im0-data3 {
		rockchip,pins = <3 RK_PA1 RK_FUNC3 &pcfg_pull_none>;
	};

	mmc1 {
		mmc1im0: mmc1im0-con {
			rockchip,pins = <0 RK_PA4 RK_FUNC2 &pcfg_pull_none>;
		};

		mmc1im0_ds: mmc1im0-ds {
			rockchip,pins = <0 RK_PA4 RK_FUNC2 &pcfg_pull_none>;
		};

		mmc1im0_cmd: mmc1im0-cmd {
			rockchip,pins = <0 RK_PA5 RK_FUNC2 &pcfg_pull_none>;
		};

		mmc1im0_clk: mmc1im0-clk {
			rockchip,pins = <0 RK_PA6 RK_FUNC2 &pcfg_pull_none>;
		};

		mmc1im0_data0: mmc1im0-data0 {
			rockchip,pins = <0 RK_PA7 RK_FUNC2 &pcfg_pull_none>;
		};

		mmc1im0_data1: mmc1im0-data1 {
			rockchip,pins = <0 RK_PB0 RK_FUNC2 &pcfg_pull_none>;
		};

		mmc1im0_data2: mmc1im0-data2 {
			rockchip,pins = <0 RK_PB1 RK_FUNC2 &pcfg_pull_none>;
		};

		mmc1im0_data3: mmc1im0-data3 {
			rockchip,pins = <0 RK_PB2 RK_FUNC2 &pcfg_pull_none>;
		};
	};

	panel: panel-con {
		rockchip,pins = <4 RK_PC4 RK_FUNC_GPIO &pcfg_pull_none>,
				 <4 RK_PC5 RK_FUNC_GPIO &pcfg_pull_none>;
	};

	pcfg_pull_default: pcfg_pull-default {
		rockchip,pins = <0 RK_PA4 RK_FUNC_GPIO &pcfg_pull_up>,
				 <0 RK_PC0 RK_FUNC_GPIO &pcfg_pull_none>,
				 <0 RK_PC1 RK_FUNC_GPIO &pcfg_pull_none>,
				 <0 RK_PC2 RK_FUNC_GPIO &pcfg_pull_none>,
				 <2 RK_PD3 RK_FUNC_GPIO &pcfg_pull_up>,
				 <2 RK_PD4 RK_FUNC_GPIO &pcfg_pull_up>,
				 <2 RK_PD5 RK_FUNC_GPIO &pcfg_pull_up>,
				 <3 RK_PA0 RK_FUNC_GPIO &pcfg_pull_up>,
				 <3 RK_PA1 RK_FUNC_GPIO &pcfg_pull_up>;
	};

	pcfg_pull_none: pcfg-pull-none {
		rockchip,pins = <0 RK_PD2 RK_FUNC_GPIO &pcfg_pull_none>,
				 <4 RK_PD1 RK_FUNC_GPIO &pcfg_pull_none>;
	};

	pmic {
		pmic_int: pmic-int {
			rockchip,pins = <0 RK_PA3 RK_FUNC_GPIO &pcfg_pull_none>;
		};
	};

	pwmdirect: pwmdirect-con {
		rockchip,pins = <4 RK_PD3 RK_FUNC2 &pcfg_pull_none>;
	};

	pwm7: pwm7-con {
		rockchip,pins = <4 RK_PD4 RK_FUNC3 &pcfg_pull_none>;
	};

	pwm14: pwm14-con {
		rockchip,pins = <4 RK_PB1 RK_FUNC3 &pcfg_pull_none>;
	};

	pwm14m1: pwm14m1-con {
		rockchip,pins = <3 RK_PC6 RK_FUNC3 &pcfg_pull_none>;
	};

	rfkill {
		rfkill_con: rfkill-con {
			rockchip,pins = <2 RK_PD7 RK_FUNC_GPIO &pcfg_pull_none>;
		};
	};

	sata {
		sata_dcb: sata-dcb {
			rockchip,pins = <4 RK_PD6 RK_FUNC_GPIO &pcfg_pull_none>;
		};
	};

	sata_immap {
		sata_dcb_immap: sata-dcb-immap {
			rockchip,pins = <4 RK_PD6 RK_FUNC_GPIO &pcfg_pull_none>;
		};
	};

	sdmmc0 {
		sdmmc0_det: sdmmc0-det {
			rockchip,pins = <0 RK_PA4 RK_FUNC_GPIO &pcfg_pull_up>;
		};
	};

	spdif1m1: spdif1m1-con {
		rockchip,pins = <7 RK_PB0 RK_FUNC2 &pcfg_pull_none>;
	};

	spdif1m1_tx: spdif1m1-tx {
		rockchip,pins = <7 RK_PB0 RK_FUNC2 &pcfg_pull_none>;
	};

	spdifm0: spdifm0-con {
		rockchip,pins = <3 RK_PC6 RK_FUNC1 &pcfg_pull_none>;
	};

	spdifm0_tx: spdifm0-tx {
		rockchip,pins = <3 RK_PC6 RK_FUNC1 &pcfg_pull_none>;
	};

	spi1 {
		spi1m0: spi1m0-con {
			rockchip,pins = <4 RK_PB0 RK_FUNC3 &pcfg_pull_none>;
		};

		spi1m0_cs0: spi1m0-cs0 {
			rockchip,pins = <4 RK_PB1 RK_FUNC3 &pcfg_pull_none>;
		};

		spi1m0_cs1: spi1m0-cs1 {
			rockchip,pins = <4 RK_PB2 RK_FUNC3 &pcfg_pull_none>;
		};

		spi1m0_clk: spi1m0-clk {
			rockchip,pins = <4 RK_PC0 RK_FUNC3 &pcfg_pull_none>;
		};

		spi1m0_miso: spi1m0-miso {
			rockchip,pins = <4 RK_PC1 RK_FUNC3 &pcfg_pull_none>;
		};

		spi1m0_mosi: spi1m0-mosi {
			rockchip,pins = <4 RK_PC2 RK_FUNC3 &pcfg_pull_none>;
		};
	};

	spi1m1: spi1m1-con {
		rockchip,pins = <3 RK_PC3 RK_FUNC4 &pcfg_pull_none>;
	};

	spi1m1_cs0: spi1m1-cs0 {
		rockchip,pins = <3 RK_PC4 RK_FUNC4 &pcfg_pull_none>;
	};

	spi1m1_cs1: spi1m1-cs1 {
		rockchip,pins = <3 RK_PC5 RK_FUNC4 &pcfg_pull_none>;
	};

	spi1m1_clk: spi1m1-clk {
		rockchip,pins = <3 RK_PC6 RK_FUNC4 &pcfg_pull_none>;
	};

	spi1m1_miso: spi1m1-miso {
		rockchip,pins = <3 RK_PC7 RK_FUNC4 &pcfg_pull_none>;
	};

	spi1m1_mosi: spi1m1-mosi {
		rockchip,pins = <4 RK_PA0 RK_FUNC4 &pcfg_pull_none>;
	};

	spi3 {
		spi3m1: spi3m1-con {
			rockchip,pins = <1 RK_PC4 RK_FUNC4 &pcfg_pull_none>;
		};

		spi3m1_cs0: spi3m1-cs0 {
			rockchip,pins = <1 RK_PC5 RK_FUNC4 &pcfg_pull_none>;
		};

		spi3m1_clk: spi3m1-clk {
			rockchip,pins = <1 RK_PC6 RK_FUNC4 &pcfg_pull_none>;
		};

		spi3m1_miso: spi3m1-miso {
			rockchip,pins = <1 RK_PC7 RK_FUNC4 &pcfg_pull_none>;
		};

		spi3m1_mosi: spi3m1-mosi {
			rockchip,pins = <2 RK_PA0 RK_FUNC4 &pcfg_pull_none>;
		};
	};

	spi3m1_pins: spi3m1-pins {
		rockchip,pins = <1 RK_PC5 RK_FUNC4 &pcfg_pull_none>;
	};

	tsadc {
		tsadc_imap: tsadc-imap {
			rockchip,pins = <0 RK_PA7 RK_FUNC1 &pcfg_pull_none>;
		};

		tsadc_imap_ot: tsadc-imap-ot {
			rockchip,pins = <0 RK_PB0 RK_FUNC1 &pcfg_pull_none>;
		};
	};

	u2phy0 {
		u2phy0_otg: u2phy0-otg {
			rockchip,pins = <0 RK_PA6 RK_FUNC_GPIO &pcfg_pull_none>;
		};
	};

	uart0 {
		uart0m1: uart0m1-con {
			rockchip,pins = <0 RK_PC2 RK_FUNC1 &pcfg_pull_none>;
		};

		uart0m1_cts: uart0m1-cts {
			rockchip,pins = <0 RK_PC3 RK_FUNC1 &pcfg_pull_none>;
		};

		uart0m1_rts: uart0m1-rts {
			rockchip,pins = <0 RK_PC4 RK_FUNC1 &pcfg_pull_none>;
		};

		uart0m1_xfer: uart0m1-xfer {
			rockchip,pins = <0 RK_PC2 RK_FUNC1 &pcfg_pull_none>,
					 <0 RK_PC3 RK_FUNC1 &pcfg_pull_none>,
					 <0 RK_PC4 RK_FUNC1 &pcfg_pull_none>,
					 <0 RK_PC5 RK_FUNC1 &pcfg_pull_none>;
		};

		uart0m2: uart0m2-con {
			rockchip,pins = <4 RK_PB2 RK_FUNC2 &pcfg_pull_none>;
		};

		uart0m2_cts: uart0m2-cts {
			rockchip,pins = <4 RK_PB3 RK_FUNC2 &pcfg_pull_none>;
		};

		uart0m2_rts: uart0m2-rts {
			rockchip,pins = <4 RK_PB4 RK_FUNC2 &pcfg_pull_none>;
		};

		uart0m2_xfer: uart0m2-xfer {
			rockchip,pins = <4 RK_PB2 RK_FUNC2 &pcfg_pull_none>,
					 <4 RK_PB3 RK_FUNC2 &pcfg_pull_none>,
					 <4 RK_PB4 RK_FUNC2 &pcfg_pull_none>,
					 <4 RK_PB5 RK_FUNC2 &pcfg_pull_none>;
		};
	};

	uart1 {
		uart1m1: uart1m1-con {
			rockchip,pins = <7 RK_PA0 RK_FUNC2 &pcfg_pull_none>;
		};

		uart1m1_cts: uart1m1-cts {
			rockchip,pins = <7 RK_PA1 RK_FUNC2 &pcfg_pull_none>;
		};

		uart1m1_rts: uart1m1-rts {
			rockchip,pins = <7 RK_PA2 RK_FUNC2 &pcfg_pull_none>;
		};

		uart1m1_xfer: uart1m1-xfer {
			rockchip,pins = <7 RK_PA0 RK_FUNC2 &pcfg_pull_none>,
					 <7 RK_PA1 RK_FUNC2 &pcfg_pull_none>,
					 <7 RK_PA2 RK_FUNC2 &pcfg_pull_none>,
					 <7 RK_PA3 RK_FUNC2 &pcfg_pull_none>;
		};
	};

	uart2 {
		uart2m1: uart2m1-con {
			rockchip,pins = <3 RK_PB6 RK_FUNC1 &pcfg_pull_none>;
		};

		uart2m1_cts: uart2m1-cts {
			rockchip,pins = <3 RK_PB7 RK_FUNC1 &pcfg_pull_none>;
		};

		uart2m1_rts: uart2m1-rts {
			rockchip,pins = <4 RK_PA0 RK_FUNC1 &pcfg_pull_none>;
		};

		uart2m1_xfer: uart2m1-xfer {
			rockchip,pins = <3 RK_PB6 RK_FUNC1 &pcfg_pull_none>,
					 <3 RK_PB7 RK_FUNC1 &pcfg_pull_none>,
					 <4 RK_PA0 RK_FUNC1 &pcfg_pull_none>,
					 <4 RK_PA1 RK_FUNC1 &pcfg_pull_none>;
		};

		uart2m2: uart2m2-con {
			rockchip,pins = <0 RK_PC6 RK_FUNC3 &pcfg_pull_none>;
		};

		uart2m2_xfer: uart2m2-xfer {
			rockchip,pins = <0 RK_PC6 RK_FUNC3 &pcfg_pull_none>,
					 <0 RK_PC7 RK_FUNC3 &pcfg_pull_none>;
		};
	};

	usb2phy0 {
		usb2phy0_host: host {
			rockchip,pins = <4 RK_PC5 RK_FUNC1 &pcfg_pull_none>;
		};
	};

	usb2phy0_otg: otg {
		rockchip,pins = <0 RK_PA6 RK_FUNC_GPIO &pcfg_pull_none>;
	};

	usb2phy1 {
		usb2phy1_host: host {
			rockchip,pins = <4 RK_PC7 RK_FUNC1 &pcfg_pull_none>;
		};
	};

	vcc1v0_s3: vcc1v0-s3-con {
		rockchip,pins = <1 RK_PB2 RK_FUNC_GPIO &pcfg_pull_none>;
	};
};

&pmu_pwr_mode {
	cpu0_vdd: cpu0-vdd {
		pwroff-pre-delay-us = <20000>;
		pwroff-post-delay-us = <70000>;
	};

	cpu1_vdd: cpu1-vdd {
		pwroff-pre-delay-us = <20000>;
		pwroff-post-delay-us = <70000>;
	};

	cpu2_vdd: cpu2-vdd {
		pwroff-pre-delay-us = <20000>;
		pwroff-post-delay-us = <70000>;
	};

	cpu3_vdd: cpu3-vdd {
		pwroff-pre-delay-us = <20000>;
		pwroff-post-delay-us = <70000>;
	};
};

&pwm7 {
	status = "okay";
};

&pwm14 {
	status = "okay";
};

&pwmdirect {
	status = "okay";
};

&saradc {
	status = "okay";
	vref-supply = <&vcc_1v8>;
};

&sdhci {
	bus-width = <8>;
	mmc-hs200-1_8v;
	non-removable;
	pinctrl-names = "default";
	pinctrl-0 = <&mmc0im1_clk &mmc0im1_cmd &mmc0im1_data0 &mmc0im1_data1 &mmc0im1_data2 &mmc0im1_data3 &mmc0im1_data4 &mmc0im1_data5 &mmc0im1_data6 &mmc0im1_data7 &mmc0im1_ds>;
	status = "okay";
};

&sdmmc0 {
	bus-width = <4>;
	cap-sd-highspeed;
	cap-sdio-irq;
	disable-wp;
	keep-power-in-suspend;
	pinctrl-names = "default";
	pinctrl-0 = <&mmc1im0_clk &mmc1im0_cmd &mmc1im0_data0 &mmc1im0_data1 &mmc1im0_data2 &mmc1im0_data3 &mmc1im0_ds>;
	sd-uhs-sdr50;
	vmmc-supply = <&vcc3v3_sd>;
	vqmmc-supply = <&vcc_3v3>;
	status = "okay";
};

&sfc {
	status = "okay";
};

&sfc_norflash {
	status = "okay";
};

&spdif1 {
	status = "okay";
};

&spi3 {
	status = "okay";
	#address-cells = <1>;
	#size-cells = <0>;
	pinctrl-names = "default";
	pinctrl-0 = <&spi3m1 &spi3m1_clk &spi3m1_miso &spi3m1_mosi &spi3m1_cs0>;
	pmic@0 {
		compatible = "rockchip,rk628-lvds";
		reg = <0x0>;
	};

	panel@1 {
		compatible = "galaxycore,gc9307";
		reg = <0x1>;
		dc-gpios = <&gpio4 RK_PC5 GPIO_ACTIVE_HIGH>;
		reset-gpios = <&gpio4 RK_PC4 GPIO_ACTIVE_HIGH>;
		spi-3wire;
		spi-cs-high;
		spi-max-frequency = <20000000>;
		backlight = <&backlight>;
		rotation = <270>;
		status = "okay";
	};
};

&tsadc {
	status = "okay";
	rockchip,hw-tshut-mode = <0>;
	rockchip,hw-tshut-polarity = <0>;
rockchip,tsadc-temp-hysteresis = <0>;
rockchip,tsadc-thermal-routine = <0>;
};

&uart0 {
	status = "okay";
};

&uart1 {
	status = "okay";
};

&uart2 {
	status = "okay";
};

&usb2phy0 {
	status = "okay";
};

&usb2phy0_grf {
	status = "okay";
};

&usb2phy1 {
	status = "okay";
};

&usb2phy1_grf {
	status = "okay";
};

&usbdrd3_0 {
	status = "okay";
};

&usbdrd3_1 {
	status = "okay";
};

&usbdrd_dwc3_0 {
	status = "okay";
};

&usbdrd_dwc3_1 {
	status = "okay";
};

&usb_host0_ehci {
	status = "okay";
};

&usb_host1_ehci {
	status = "okay";
};

&usb_host0_ohci {
	status = "okay";
};

&usb_host1_ohci {
	status = "okay";
};

&usb_host0_xhci {
	status = "okay";
};

&usb_host1_xhci {
	vbus-supply = <&vcc_4v0_5g>;
	status = "okay";
};

&vdd_cpu {
	domain-supply = <&vdd_logic_low>;
};
